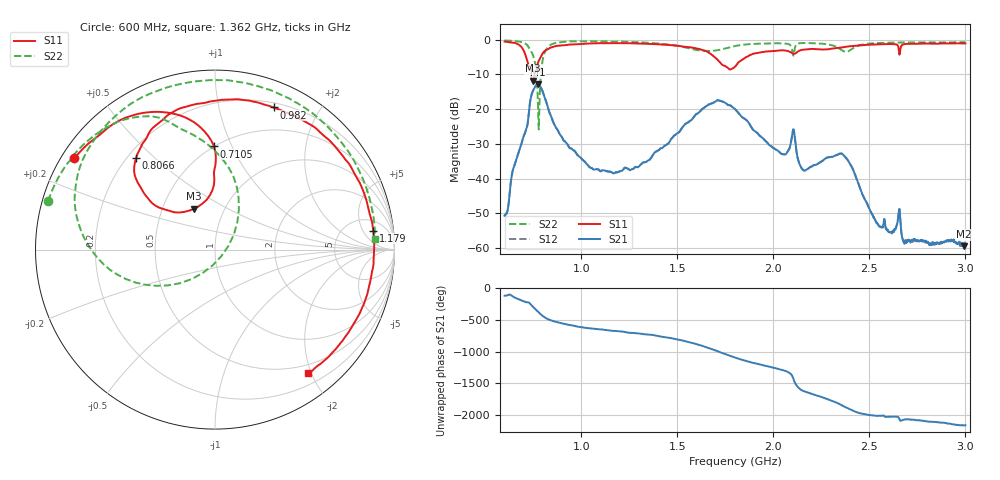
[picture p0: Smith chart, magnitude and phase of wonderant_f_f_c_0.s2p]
#  HZ  S  RI  R  50.00
! Rohde & Schwarz ZVB8 2Ports - Version 2.81 - 1145.1010k08 SN: 100113
! Date: 2016-05-17 22:37:54
! Measurements: S11 S21 S12 S22
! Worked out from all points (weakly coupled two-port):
!   1000 points, 600 MHz to 3 GHz, reference 50 ohm
!   highest |S21| = -12.87 dB at 773 MHz (marker M1); lowest = -59.4 dB at 2.99 GHz (marker M2)
!   lowest |S11| = -11.8 dB at 746.5 MHz (marker M3), VSWR 1.69, Z = 35.9 + j17.5 ohm
!   |S11| at or under -10 dB: 735.9 MHz to 757.2 MHz (21.3 MHz wide, 2.85 % of centre)
!   |S22| runs from -25.9 to -0.3 dB; largest |S21 - S12| = 0.0024
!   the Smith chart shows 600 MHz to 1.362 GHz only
!   S11 on the Smith chart (normalised r, x): 600 MHz: 0.04, +0.30; 710.5 MHz: 0.50, +0.86; 806.6 MHz: 0.23, +0.44; 982 MHz: 0.25, +1.47; 1.179 GHz: 8, +8; 1.362 GHz: 0.36, -1.95
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6e8  -0.7836 0.5087  -0.00153 -0.00248  -0.0015 -0.00248  -0.9305 0.2705
7.105105e8  -0.0054 0.5749  -0.0371 0.0324  -0.0377 0.0317  -0.459 0.7347
7.465465e8  -0.1176 0.2272  0.0663 0.167  0.0665 0.1675  -0.0631 0.603
7.72973e8  -0.3653 0.2755  0.224 -0.0382  0.2256 -0.0379  0.1059 0.0861
8.066066e8  -0.4393 0.5126  -0.019 -0.1508  -0.0184 -0.1512  -0.6192 -0.0833
8.738739e8  -0.1844 0.7902  -0.051 -0.00232  -0.0511 -0.00259  -0.7108 0.5523
9.81982e8  0.3264 0.7919  -0.008 0.02  -0.00799 0.0198  -0.2983 0.8928
1.001201e9  0.398 0.7644  -0.00413 0.0188  -0.00422 0.0187  -0.2309 0.9139
1.178979e9  0.8817 0.1061  0.00887 0.00858  0.00885 0.00862  0.4919 0.7954
1.361562e9  0.5189 -0.6887  0.0189 -0.00524  0.019 -0.00522  0.8918 0.0592
1.4e9  0.3496 -0.7803  0.0205 -0.015  0.0206 -0.0149  0.8636 -0.1374
1.616216e9  -0.5893 -0.4238  -0.0914 -0.0043  -0.0914 -0.00458  0.1387 -0.6809
1.801201e9  -0.4077 -0.0358  0.0954 -0.0275  0.0954 -0.0269  -0.4922 -0.6384
1.8997e9  -0.5412 0.3178  -0.00922 -0.0479  -0.00894 -0.0479  -0.8207 -0.2841
2.027027e9  0.0233 0.6952  -0.0238 0.00621  -0.0239 0.00615  -0.8282 0.3106
2.103904e9  0.4037 0.4798  0.0493 0.0136  0.0491 0.0136  -0.447 0.3796
2.144745e9  0.5752 0.4068  -0.0138 -0.00414  -0.0138 -0.00428  -0.61 0.6459
2.2e9  0.7282 0.0792  -0.0104 0.0107  -0.0105 0.0107  -0.3879 0.7975
2.363363e9  0.4061 -0.6596  0.0123 -0.0183  0.0121 -0.0186  0.1793 0.6567
2.601201e9  -0.6 -0.6187  -0.00118 0.0012  -0.00122 0.0012  0.79 0.4298
2.99039e9  -0.6731 0.5652  0.00107 -3.86e-05  0.00108 1.77e-05  0.5578 -0.7223
3e9  -0.653 0.5871  0.00117 -5.07e-07  0.0012 -8.04e-05  0.5375 -0.7388
